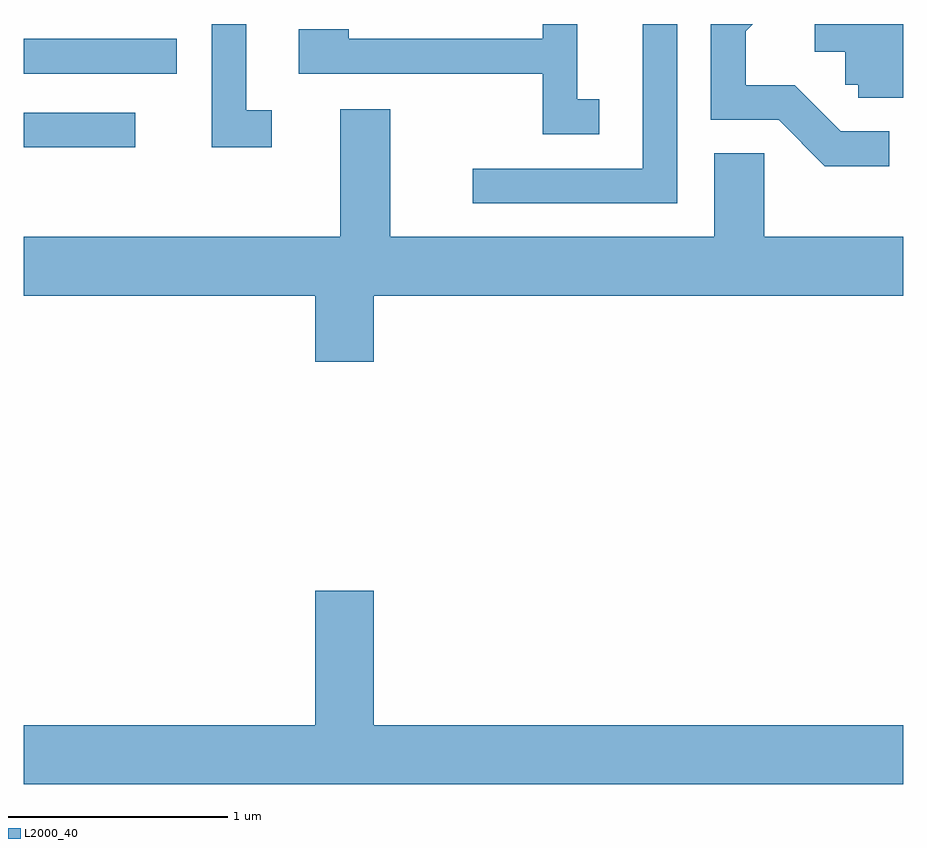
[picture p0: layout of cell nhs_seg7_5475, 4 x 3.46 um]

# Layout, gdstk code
import gdstk
lib = gdstk.Library(unit=1e-6, precision=1e-09)
def R(c, l, rs):  # rectangles x0, y0, x1, y1
    for r in rs: c.add(gdstk.rectangle(r[:2], r[2:], *l))
def P(c, l, *ps):  # polygons
    for p in ps: c.add(gdstk.Polygon(p, *l))
L2000_40 = (2000, 40)

nhs_seg7_5475 = lib.new_cell('nhs_seg7_5475')
R(nhs_seg7_5475, L2000_40, [(353.611,1681.691,354.118,1681.849), (353.611,1682.026,354.308,1682.184)])
P(nhs_seg7_5475, L2000_40, [(356.228,1681.909),(356.129,1681.909),(356.129,1682.252),(355.971,1682.252),(355.971,1682.184),(355.089,1682.184),(355.089,1682.229),(354.861,1682.229),(354.861,1682.026),(355.971,1682.026),(355.971,1681.751),(356.228,1681.751)],
  [(357.611,1682.252),(357.208,1682.252),(357.208,1682.126),(357.346,1682.126),(357.346,1681.976),(357.406,1681.976),(357.406,1681.916),(357.611,1681.916)],
  [(354.738,1681.859),(354.624,1681.859),(354.624,1682.252),(354.466,1682.252),(354.466,1681.691),(354.738,1681.691)],
  [(357.548,1681.764),(357.327,1681.764),(357.117,1681.974),(356.894,1681.974),(356.894,1682.219),(356.927,1682.252),(356.736,1682.252),(356.736,1681.816),(357.044,1681.816),(357.254,1681.606),(357.548,1681.606)],
  [(356.584,1682.252),(356.426,1682.252),(356.426,1681.594),(355.653,1681.594),(355.653,1681.436),(356.584,1681.436)],
  [(355.204,1681.016),(357.611,1681.016),(357.611,1681.284),(356.979,1681.284),(356.979,1681.664),(356.751,1681.664),(356.751,1681.284),(355.279,1681.284),(355.279,1681.864),(355.051,1681.864),(355.051,1681.284),(353.611,1681.284),(353.611,1681.016),(354.936,1681.016),(354.936,1680.716),(355.204,1680.716)],
  [(357.611,1679.064),(355.204,1679.064),(355.204,1679.674),(354.936,1679.674),(354.936,1679.064),(353.611,1679.064),(353.611,1678.796),(357.611,1678.796)])

lib.write_gds('nhs_seg7_5475.gds')
